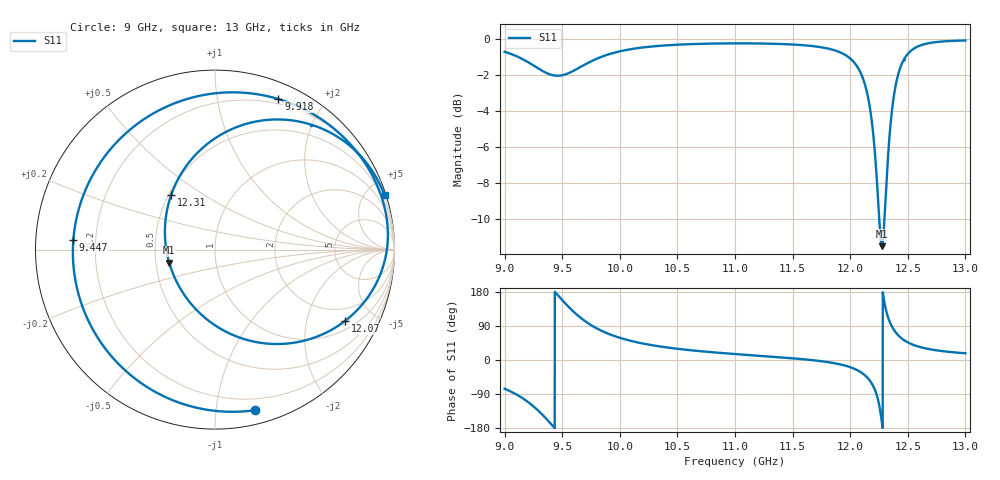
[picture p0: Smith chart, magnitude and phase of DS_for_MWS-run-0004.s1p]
! TOUCHSTONE file generated by CST DESIGN STUDIO
! Date and time: Tue Feb  4 13:42:03 2025
! Project name: C:\Work\MatlabApps\UnitCellOptimizationMatlab\CST\unitcell.cst
! Tree item: Tasks\Sweep1\SPara1\S-Parameters
! Header version: 2024
! Port assignment regex: !\s*Touchstone port\s*([0-9]+)\s*=\s*(CST MWS port|CST DES external port|CST DES block port)\s*(.+)\s* \(\"(.*)\"\)(\s*mode\s*([0-9]+))?.*
! Touchstone port assignment:
! Touchstone port 1 = CST DES external port 1 ("")
# GHz S MA R 50
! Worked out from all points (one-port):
!   4001 points, 9 GHz to 13 GHz, reference 50 ohm
!   lowest |S11| = -11.5 dB at 12.28 GHz (marker M1), VSWR 1.72, Z = 29.4 - j4.61 ohm
!   |S11| at or under -10 dB: 12.25182 GHz to 12.29743 GHz (45.61 MHz wide, 0.372 % of centre)
!   S11 on the Smith chart (normalised r, x): 9 GHz: 0.11, -1.28; 9.447 GHz: 0.12, +0.03; 9.918 GHz: 0.15, +1.50; 12.07 GHz: 1.36, -3.40; 12.31 GHz: 0.52, +0.37; 13 GHz: 0.17, +6.40
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9  0.9223 -75.9
9.133  0.8874 -96.4
9.236  0.8504 -118.7
9.355  0.8073 -152.8
9.447  0.7911 176.2
9.5  0.7934 158.1
9.591  0.8141 129.6
9.68  0.844 106.7
9.782  0.8769 86.4
9.918  0.9104 67.1
10  0.9249 58.5
10.215  0.9494 42.6
10.5  0.9651 29.6
11  0.9735 15.7
11.5  0.9663 4.5
11.798  0.943 -5.2
12  0.8836 -18.9
12.073  0.8266 -28.7
12.139  0.7257 -43.5
12.198  0.5516 -67.8
12.236  0.3847 -98.2
12.275  0.2652 -164.1
12.313  0.3903 128.8
12.349  0.574 96.5
12.386  0.7177 76.6
12.5  0.9098 46.5
12.673  0.9732 29.5
13  0.9917 17.8
